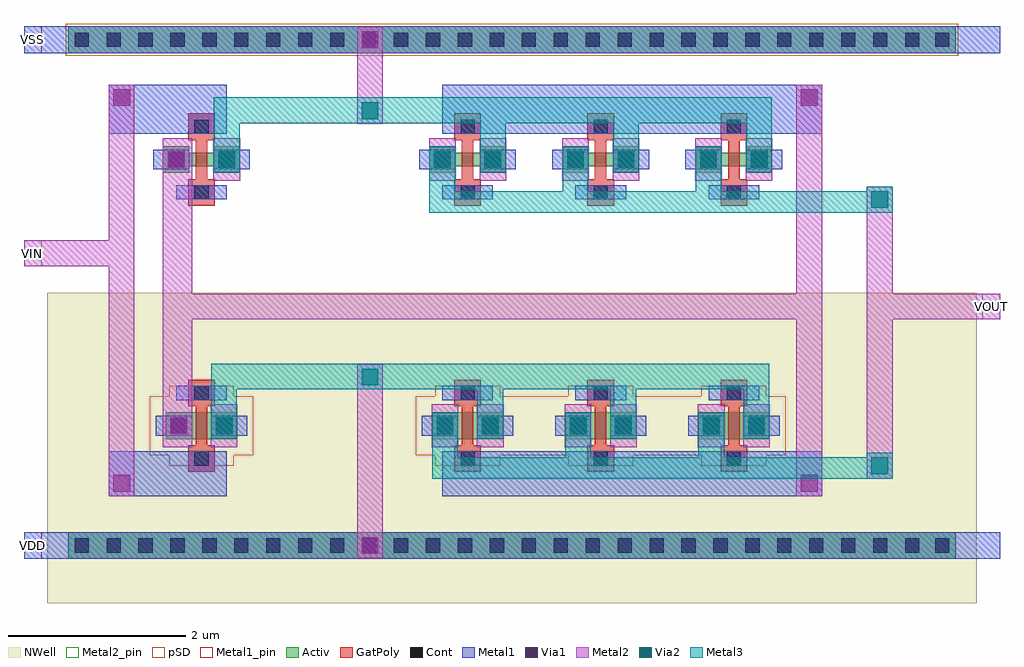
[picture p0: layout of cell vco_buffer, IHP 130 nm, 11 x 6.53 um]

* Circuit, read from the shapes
.subckt vco_buffer VDD VIN VOUT VSS
XM1 VSS VIN dev_n_w0p15_l0p13_ng1_noguard_sdvia_4/D VSS sg13_lv_nmos w=0.15u l=0.13u
XM2 VSS dev_n_w0p15_l0p13_ng1_noguard_sdvia_4/D VOUT VSS sg13_lv_nmos w=0.15u l=0.13u m=3
XM3 VDD VIN dev_n_w0p15_l0p13_ng1_noguard_sdvia_4/D VDD sg13_lv_pmos w=0.3u l=0.13u
XM4 VDD dev_n_w0p15_l0p13_ng1_noguard_sdvia_4/D VOUT VDD sg13_lv_pmos w=0.3u l=0.13u m=3
.ends

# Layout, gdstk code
import gdstk
lib = gdstk.Library(unit=1e-6, precision=1e-09)
def R(c, l, rs):  # rectangles x0, y0, x1, y1
    for r in rs: c.add(gdstk.rectangle(r[:2], r[2:], *l))
def A(c, l, x, y, w, h, nx, ny, dx, dy):  # array of equal rectangles
    R(c, l, [(x+i*dx, y+j*dy, x+i*dx+w, y+j*dy+h) for i in range(nx) for j in range(ny)])
Activ = (1, 0)
GatPoly = (5, 0)
Cont = (6, 0)
Metal1 = (8, 0)
Metal1_pin = (8, 2)
Metal2 = (10, 0)
Metal2_pin = (10, 2)
pSD = (14, 0)
Via1 = (19, 0)
Via2 = (29, 0)
Metal3 = (30, 0)
NWell = (31, 0)

dev_p_w0p3_l0p13_ng1_nog = lib.new_cell('dev_p_w0p3_l0p13_ng1_noguard_sdvia')
R(dev_p_w0p3_l0p13_ng1_nog, Activ, [(-0.405,-0.15,0.405,0.15)])
R(dev_p_w0p3_l0p13_ng1_nog, GatPoly, [(-0.15,-0.52,0.15,-0.22), (-0.065,-0.22,0.065,0.22), (-0.15,0.22,0.15,0.52)])
R(dev_p_w0p3_l0p13_ng1_nog, Cont, [(-0.08,-0.45,0.08,-0.29), (-0.335,-0.08,-0.175,0.08), (0.175,-0.08,0.335,0.08), (-0.08,0.29,0.08,0.45)])
R(dev_p_w0p3_l0p13_ng1_nog, Metal1, [(-0.255,-0.45,0.255,-0.29), (-0.515,-0.11,-0.105,0.11), (0.105,-0.11,0.515,0.11), (-0.255,0.29,0.255,0.45)])
R(dev_p_w0p3_l0p13_ng1_nog, Metal2, [(-0.405,-0.24,-0.105,0.24), (0.105,-0.24,0.405,0.24)])
R(dev_p_w0p3_l0p13_ng1_nog, pSD, [(-0.365,-0.45,0.365,-0.33), (-0.585,-0.33,0.585,0.33), (-0.365,0.33,0.365,0.45)])
R(dev_p_w0p3_l0p13_ng1_nog, Via1, [(-0.35,-0.095,-0.16,0.095), (0.16,-0.095,0.35,0.095)])
R(dev_p_w0p3_l0p13_ng1_nog, NWell, [(-0.715,-0.46,0.715,0.46)])
dev_p_w0p3_l0p13_ng1_nog.add(gdstk.Label('D', (-0.255,0), layer=8, texttype=25))
dev_p_w0p3_l0p13_ng1_nog.add(gdstk.Label('S', (0.255,0), layer=8, texttype=25))
dev_p_w0p3_l0p13_ng1_nog.add(gdstk.Label('G', (0,0.37), layer=8, texttype=25))

dev_n_w0p15_l0p13_ng1_no = lib.new_cell('dev_n_w0p15_l0p13_ng1_noguard_sdvia')
R(dev_n_w0p15_l0p13_ng1_no, Activ, [(-0.435,-0.15,-0.135,-0.075), (0.135,-0.15,0.435,-0.075), (-0.435,-0.075,0.435,0.075), (-0.435,0.075,-0.135,0.15), (0.135,0.075,0.435,0.15)])
R(dev_n_w0p15_l0p13_ng1_no, GatPoly, [(-0.15,-0.52,0.15,-0.22), (-0.065,-0.22,0.065,0.22), (-0.15,0.22,0.15,0.52)])
R(dev_n_w0p15_l0p13_ng1_no, Cont, [(-0.08,-0.45,0.08,-0.29), (-0.365,-0.08,-0.205,0.08), (0.205,-0.08,0.365,0.08), (-0.08,0.29,0.08,0.45)])
R(dev_n_w0p15_l0p13_ng1_no, Metal1, [(-0.285,-0.45,0.285,-0.29), (-0.545,-0.11,-0.135,0.11), (0.135,-0.11,0.545,0.11), (-0.285,0.29,0.285,0.45)])
R(dev_n_w0p15_l0p13_ng1_no, Metal2, [(-0.435,-0.24,-0.135,0.24), (0.135,-0.24,0.435,0.24)])
R(dev_n_w0p15_l0p13_ng1_no, Via1, [(-0.38,-0.095,-0.19,0.095), (0.19,-0.095,0.38,0.095)])
dev_n_w0p15_l0p13_ng1_no.add(gdstk.Label('D', (-0.285,0), layer=8, texttype=25))
dev_n_w0p15_l0p13_ng1_no.add(gdstk.Label('S', (0.285,0), layer=8, texttype=25))
dev_n_w0p15_l0p13_ng1_no.add(gdstk.Label('G', (0,0.37), layer=8, texttype=25))

vco_buffer = lib.new_cell('vco_buffer')
R(vco_buffer, Activ, [(0,0.5,10,0.8), (0,6.2,10,6.5)])
A(vco_buffer, Cont, 0.07, 0.57, 0.16, 0.16, 27, 2, 0.36, 5.7)
R(vco_buffer, Cont, [(9.77,0.57,9.93,0.73), (9.77,6.27,9.93,6.43)])
A(vco_buffer, Metal1, 4.215, 2.29, 0.57, 0.16, 3, 1, 1.5, 0)
R(vco_buffer, Metal1, [(-0.5,0.5,10.5,0.8), (0.455,1.205,1.785,1.71), (4.215,1.205,8.495,1.71), (1.215,2.29,1.785,2.45), (0.455,5.29,1.785,5.845), (4.215,5.29,8.495,5.845), (-0.5,6.2,10.5,6.5)])
R(vco_buffer, Metal1_pin, [(-0.5,0.5,-0.3,0.8), (-0.5,6.2,-0.3,6.5)])
R(vco_buffer, Metal2, [(3.255,0.505,3.545,2.695), (0.455,1.205,0.745,3.8), (8.205,1.205,8.495,3.2), (9,1.405,9.29,3.2), (1.065,1.76,1.395,3.2), (1.655,1.9,1.855,2.1), (4.145,1.9,4.345,2.1), (4.655,1.9,4.855,2.1), (5.645,1.9,5.845,2.1), (6.155,1.9,6.355,2.1), (7.145,1.9,7.345,2.1), (7.655,1.9,7.855,2.1), (1.065,3.2,8.495,3.49), (9,3.2,10.5,3.49), (1.065,3.49,1.395,5.24), (8.205,3.49,8.495,5.845), (9,3.49,9.29,4.695), (-0.5,3.8,0.745,4.09), (0.455,4.09,0.745,5.845), (1.685,4.9,1.885,5.1), (4.115,4.9,4.315,5.1), (4.685,4.9,4.885,5.1), (5.615,4.9,5.815,5.1), (6.185,4.9,6.385,5.1), (7.115,4.9,7.315,5.1), (7.685,4.9,7.885,5.1), (3.255,5.405,3.545,6.495)])
R(vco_buffer, Metal2_pin, [(10.3,3.2,10.5,3.49), (-0.5,3.8,-0.3,4.09)])
R(vco_buffer, pSD, [(5.085,1.67,5.415,2.33), (6.585,1.67,6.915,2.33), (-0.03,6.17,10.03,6.53)])
R(vco_buffer, Via1, [(3.305,0.555,3.495,0.745), (0.505,1.255,0.695,1.445), (8.255,1.255,8.445,1.445), (0.505,5.605,0.695,5.795), (8.255,5.605,8.445,5.795), (3.305,6.255,3.495,6.445)])
R(vco_buffer, Via2, [(9.05,1.455,9.24,1.645), (1.66,1.905,1.85,2.095), (4.15,1.905,4.34,2.095), (4.66,1.905,4.85,2.095), (5.65,1.905,5.84,2.095), (6.16,1.905,6.35,2.095), (7.15,1.905,7.34,2.095), (7.66,1.905,7.85,2.095), (3.305,2.455,3.495,2.645), (9.05,4.455,9.24,4.645), (1.69,4.905,1.88,5.095), (4.12,4.905,4.31,5.095), (4.69,4.905,4.88,5.095), (5.62,4.905,5.81,5.095), (6.19,4.905,6.38,5.095), (7.12,4.905,7.31,5.095), (7.69,4.905,7.88,5.095), (3.305,5.455,3.495,5.645)])
A(vco_buffer, Metal3, 4.1, 1.645, 0.29, 0.5, 3, 1, 1.5, 0)
A(vco_buffer, Metal3, 4.61, 1.855, 0.29, 0.555, 3, 1, 1.5, 0)
A(vco_buffer, Metal3, 4.07, 4.645, 0.29, 0.5, 3, 1, 1.5, 0)
A(vco_buffer, Metal3, 4.64, 4.855, 0.29, 0.555, 3, 1, 1.5, 0)
R(vco_buffer, Metal3, [(4.1,1.4,9.29,1.645), (9,1.645,9.29,1.695), (1.61,1.855,1.9,2.41), (1.61,2.41,7.9,2.7), (4.07,4.4,9.29,4.645), (9,4.645,9.29,4.695), (1.64,4.855,1.93,5.41), (1.64,5.41,7.93,5.7)])
R(vco_buffer, NWell, [(-0.24,0,10.24,3.5)])
vco_buffer.add(gdstk.Reference(dev_p_w0p3_l0p13_ng1_nog, (1.5,2)))
vco_buffer.add(gdstk.Reference(dev_p_w0p3_l0p13_ng1_nog, (4.5,2)))
vco_buffer.add(gdstk.Reference(dev_p_w0p3_l0p13_ng1_nog, (6,2)))
vco_buffer.add(gdstk.Reference(dev_p_w0p3_l0p13_ng1_nog, (7.5,2)))
vco_buffer.add(gdstk.Reference(dev_n_w0p15_l0p13_ng1_no, (1.5,5)))
vco_buffer.add(gdstk.Reference(dev_n_w0p15_l0p13_ng1_no, (4.5,5)))
vco_buffer.add(gdstk.Reference(dev_n_w0p15_l0p13_ng1_no, (6,5)))
vco_buffer.add(gdstk.Reference(dev_n_w0p15_l0p13_ng1_no, (7.5,5)))
vco_buffer.add(gdstk.Label('VIN', (-0.4,3.945), layer=10, texttype=25))
vco_buffer.add(gdstk.Label('VOUT', (10.4,3.345), layer=10, texttype=25))
vco_buffer.add(gdstk.Label('VDD', (-0.4,0.65), layer=8, texttype=25))
vco_buffer.add(gdstk.Label('VSS', (-0.4,6.35), layer=8, texttype=25))

lib.write_gds('vco_buffer.gds')
